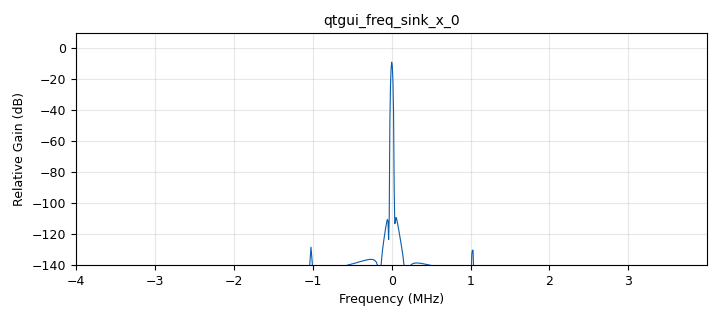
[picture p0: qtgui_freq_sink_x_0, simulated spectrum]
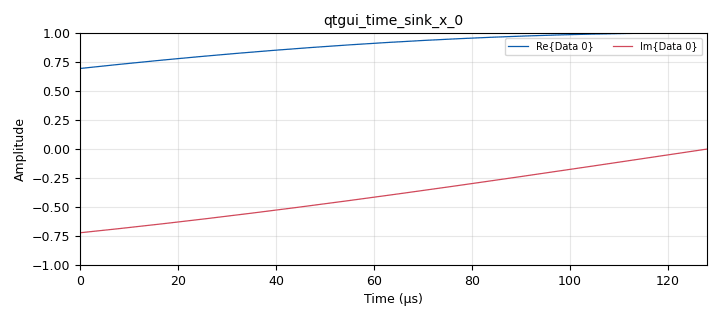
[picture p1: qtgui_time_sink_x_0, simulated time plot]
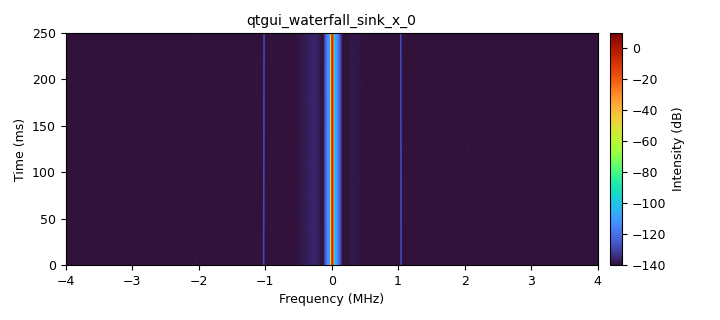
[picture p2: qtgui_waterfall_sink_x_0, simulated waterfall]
options:
  parameters:
    author: jason
    generate_options: qt_gui
    generator_class_name: PythonQtGuiGenerator
    generator_module: gnuradio.grc.workflows.python_qt_gui
    id: lesson08alt_hackRFtransmit
    output_language: python
    title: Hack RF Transmit
  states: {}

blocks:
- name: freqRF_MHz
  id: variable_qtgui_range
  parameters:
    start: '902'
    step: '0.001'
    stop: '928'
    value: '915'
  states: {}
- name: freq_signal
  id: variable_qtgui_range
  parameters:
    start: '-10e3'
    step: '1'
    stop: 10e3
    value: 1e3
  states: {}
- name: samp_rate
  id: variable
  parameters:
    value: 8e6
  states: {}
- name: analog_sig_source_x_0
  id: analog_sig_source_x
  parameters:
    amp: '1'
    freq: freq_signal
    offset: '0'
    phase: '0'
    samp_rate: samp_rate
    type: complex
    waveform: analog.GR_COS_WAVE
  states: {}
- name: osmosdr_sink_0
  id: osmosdr_sink
  parameters:
    bb_gain0: '20'
    freq0: freqRF_MHz*1e6
    gain0: '10'
    if_gain0: '20'
    sample_rate: samp_rate
    sync: none
    type: fc32
  states: {}
- name: qtgui_const_sink_x_0
  id: qtgui_const_sink_x
  parameters:
    size: '1024'
    type: complex
  states: {state: disabled}
- name: qtgui_freq_sink_x_0
  id: qtgui_freq_sink_x
  parameters:
    bw: samp_rate
    fc: '0'
    fftsize: '1024'
    type: complex
  states: {}
- name: qtgui_time_sink_x_0
  id: qtgui_time_sink_x
  parameters:
    size: '1024'
    srate: samp_rate
    type: complex
  states: {}
- name: qtgui_waterfall_sink_x_0
  id: qtgui_waterfall_sink_x
  parameters:
    bw: samp_rate
    fc: '0'
    fftsize: '1024'
    type: complex
  states: {}

connections:
- [analog_sig_source_x_0, '0', osmosdr_sink_0, '0']
- [analog_sig_source_x_0, '0', qtgui_const_sink_x_0, '0']
- [analog_sig_source_x_0, '0', qtgui_freq_sink_x_0, '0']
- [analog_sig_source_x_0, '0', qtgui_time_sink_x_0, '0']
- [analog_sig_source_x_0, '0', qtgui_waterfall_sink_x_0, '0']

metadata:
  file_format: 1
  grc_version: 3.10.12.0
